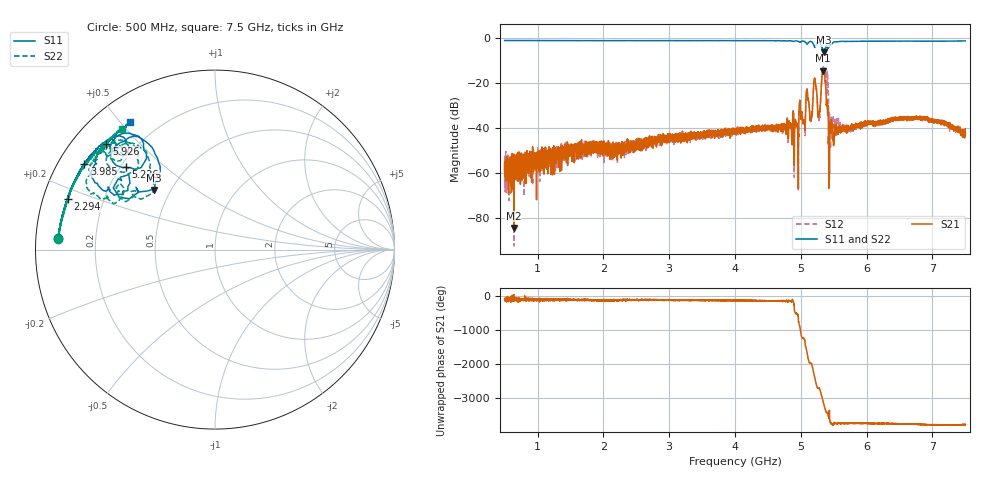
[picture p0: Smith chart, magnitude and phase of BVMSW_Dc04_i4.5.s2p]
!Keysight Technologies,M9374A,MY55442783,A.12.55.05
!Date: Thursday, May 20, 2021 18:17:22
!Correction: S11(Full 2 Port(1,2))
!S21(Full 2 Port(1,2))
!S12(Full 2 Port(1,2))
!S22(Full 2 Port(1,2))
!S2P File: Measurements: S11, S21, S12, S22:
# Hz S  RI  R 50
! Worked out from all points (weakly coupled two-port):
!   7001 points, 500 MHz to 7.5 GHz, reference 50 ohm
!   highest |S21| = -14.45 dB at 5.34 GHz (marker M1); lowest = -84.3 dB at 640 MHz (marker M2)
!   lowest |S11| = -6.4 dB at 5.349 GHz (marker M3), VSWR 2.82, Z = 20.2 + j17.4 ohm
!   |S11| at or under -10 dB: nowhere
!   |S22| runs from -6.6 to -1.2 dB; largest |S21 - S12| = 0.21
!   S11 on the Smith chart (normalised r, x): 500 MHz: 0.07, +0.04; 2.294 GHz: 0.07, +0.17; 3.985 GHz: 0.08, +0.30; 5.226 GHz: 0.22, +0.38; 5.926 GHz: 0.10, +0.40; 7.5 GHz: 0.10, +0.53
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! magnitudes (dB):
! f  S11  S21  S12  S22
! 500 MHz  -1.1  -59.1  -66.4  -1.2
! 640 MHz  -1.2  -84.3  -59.9  -1.2
! 1.667 GHz  -1.2  -48.9  -49.2  -1.2
! 2.294 GHz  -1.2  -47.3  -48.8  -1.2
! 2.834 GHz  -1.2  -45.1  -45.5  -1.2
! 3.985 GHz  -1.2  -41.0  -42.7  -1.3
! 4 GHz  -1.2  -41.4  -40.8  -1.3
! 4.932 GHz  -1.3  -38.0  -37.6  -1.4
! 5.04 GHz  -1.4  -37.3  -37.4  -1.5
! 5.103 GHz  -2.4  -25.6  -25.4  -2.5
! 5.167 GHz  -1.8  -34.5  -34.2  -1.8
! 5.226 GHz  -3.4  -21.2  -20.8  -3.4
! 5.279 GHz  -2.1  -33.0  -36.7  -2.1
! 5.34 GHz  -5.7  -14.5  -13.0  -5.5
! 5.349 GHz  -6.4  -15.3  -12.8  -6.4
! 5.385 GHz  -3.7  -27.2  -16.3  -4.0
! 5.412 GHz  -4.6  -30.0  -18.8  -4.6
! 5.455 GHz  -3.1  -42.3  -40.6  -3.0
! 5.926 GHz  -1.5  -37.9  -39.2  -1.4
! 6.334 GHz  -1.4  -37.0  -37.5  -1.4
! 6.9 GHz  -1.5  -35.8  -36.4  -1.4
! 7.5 GHz  -1.3  -43.3  -42.1  -1.4
